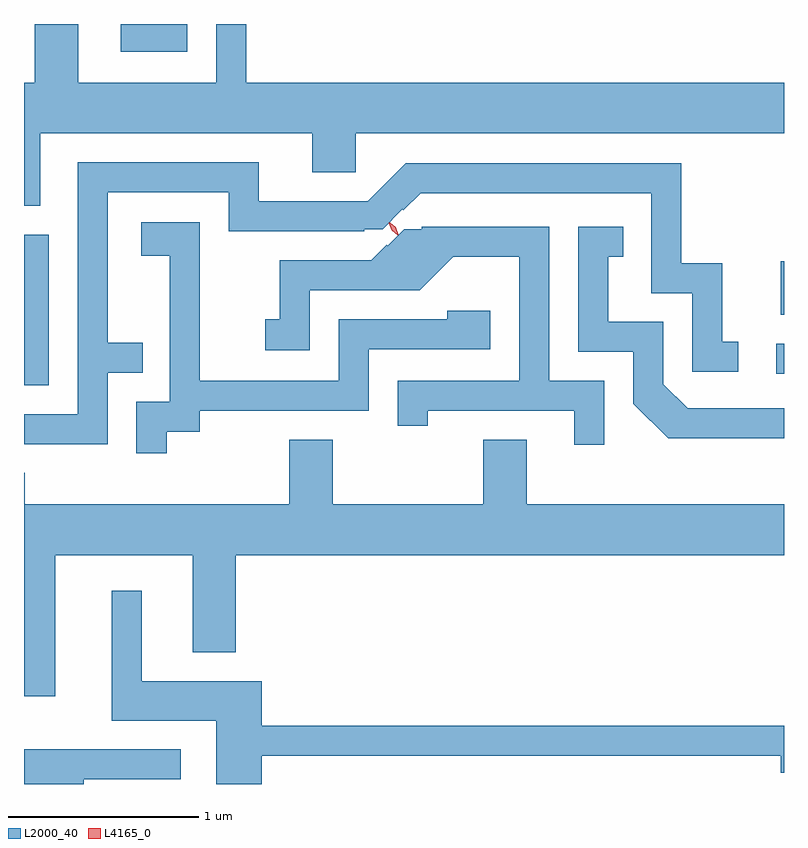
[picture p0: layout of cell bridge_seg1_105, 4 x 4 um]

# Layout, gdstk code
import gdstk
lib = gdstk.Library(unit=1e-6, precision=1e-09)
def R(c, l, rs):  # rectangles x0, y0, x1, y1
    for r in rs: c.add(gdstk.rectangle(r[:2], r[2:], *l))
def P(c, l, *ps):  # polygons
    for p in ps: c.add(gdstk.Polygon(p, *l))
L2000_40 = (2000, 40)
L4165_0 = (4165, 0)

bridge_seg1_105 = lib.new_cell('bridge_seg1_105')
R(bridge_seg1_105, L2000_40, [(1466.694,853.851,1466.824,854.644), (1470.653,853.911,1470.694,854.069), (1470.676,854.221,1470.694,854.504), (1467.203,855.606,1467.554,855.752)])
P(bridge_seg1_105, L2000_40, [(1466.779,855.176),(1468.211,855.176),(1468.211,854.971),(1468.439,854.971),(1468.439,855.176),(1470.694,855.176),(1470.694,855.444),(1467.864,855.444),(1467.864,855.752),(1467.706,855.752),(1467.706,855.444),(1466.979,855.444),(1466.979,855.752),(1466.751,855.752),(1466.751,855.444),(1466.694,855.444),(1466.694,854.796),(1466.779,854.796)],
  [(1467.134,853.916),(1467.318,853.916),(1467.318,854.074),(1467.134,854.074),(1467.134,854.866),(1467.771,854.866),(1467.771,854.661),(1468.485,854.661),(1468.485,854.671),(1468.581,854.671),(1468.686,854.776),(1468.691,854.771),(1468.782,854.861),(1469.996,854.861),(1469.996,854.336),(1470.211,854.336),(1470.211,853.921),(1470.453,853.921),(1470.453,854.079),(1470.369,854.079),(1470.369,854.494),(1470.154,854.494),(1470.154,855.019),(1468.704,855.019),(1468.504,854.819),(1467.929,854.819),(1467.929,855.024),(1466.976,855.024),(1466.976,853.699),(1466.694,853.699),(1466.694,853.541),(1467.134,853.541)],
  [(1467.444,853.606),(1467.619,853.606),(1467.619,853.716),(1468.509,853.716),(1468.509,854.041),(1469.149,854.041),(1469.149,854.244),(1468.921,854.244),(1468.921,854.199),(1468.351,854.199),(1468.351,853.874),(1467.619,853.874),(1467.619,854.709),(1467.311,854.709),(1467.311,854.531),(1467.461,854.531),(1467.461,853.764),(1467.286,853.764),(1467.286,853.493),(1467.444,853.493)],
  [(1469.749,853.874),(1469.459,853.874),(1469.459,854.684),(1468.788,854.684),(1468.788,854.673),(1468.695,854.673),(1468.608,854.586),(1468.603,854.59),(1468.522,854.509),(1468.041,854.509),(1468.041,854.199),(1467.963,854.199),(1467.963,854.036),(1468.199,854.036),(1468.199,854.351),(1468.777,854.351),(1468.952,854.526),(1469.301,854.526),(1469.301,853.874),(1468.661,853.874),(1468.661,853.638),(1468.819,853.638),(1468.819,853.716),(1469.591,853.716),(1469.591,853.538),(1469.749,853.538)],
  [(1470.694,853.729),(1470.187,853.729),(1470.059,853.857),(1470.059,854.184),(1469.769,854.184),(1469.769,854.526),(1469.848,854.526),(1469.848,854.684),(1469.611,854.684),(1469.611,854.026),(1469.901,854.026),(1469.901,853.754),(1470.084,853.571),(1470.694,853.571)],
  [(1466.859,852.956),(1467.581,852.956),(1467.581,852.446),(1467.809,852.446),(1467.809,852.956),(1470.694,852.956),(1470.694,853.224),(1469.339,853.224),(1469.339,853.564),(1469.111,853.564),(1469.111,853.224),(1468.319,853.224),(1468.319,853.564),(1468.091,853.564),(1468.091,853.224),(1466.699,853.224),(1466.699,853.389),(1466.694,853.389),(1466.694,852.213),(1466.859,852.213)],
  [(1467.944,851.901),(1470.676,851.901),(1470.676,851.811),(1470.694,851.811),(1470.694,852.059),(1467.944,852.059),(1467.944,852.294),(1467.314,852.294),(1467.314,852.768),(1467.156,852.768),(1467.156,852.086),(1467.706,852.086),(1467.706,851.752),(1467.944,851.752)],
  [(1467.009,851.776),(1467.518,851.776),(1467.518,851.934),(1466.694,851.934),(1466.694,851.752),(1467.009,851.752)])
P(bridge_seg1_105, L4165_0, [(1468.66,854.64),(1468.63,854.667),(1468.615,854.705),(1468.616,854.705),(1468.616,854.705),(1468.646,854.678),(1468.661,854.64),(1468.661,854.64)],
  [(1468.663,854.644),(1468.634,854.669),(1468.62,854.705),(1468.62,854.706),(1468.621,854.706),(1468.65,854.681),(1468.664,854.645),(1468.664,854.644)])

lib.write_gds('bridge_seg1_105.gds')
